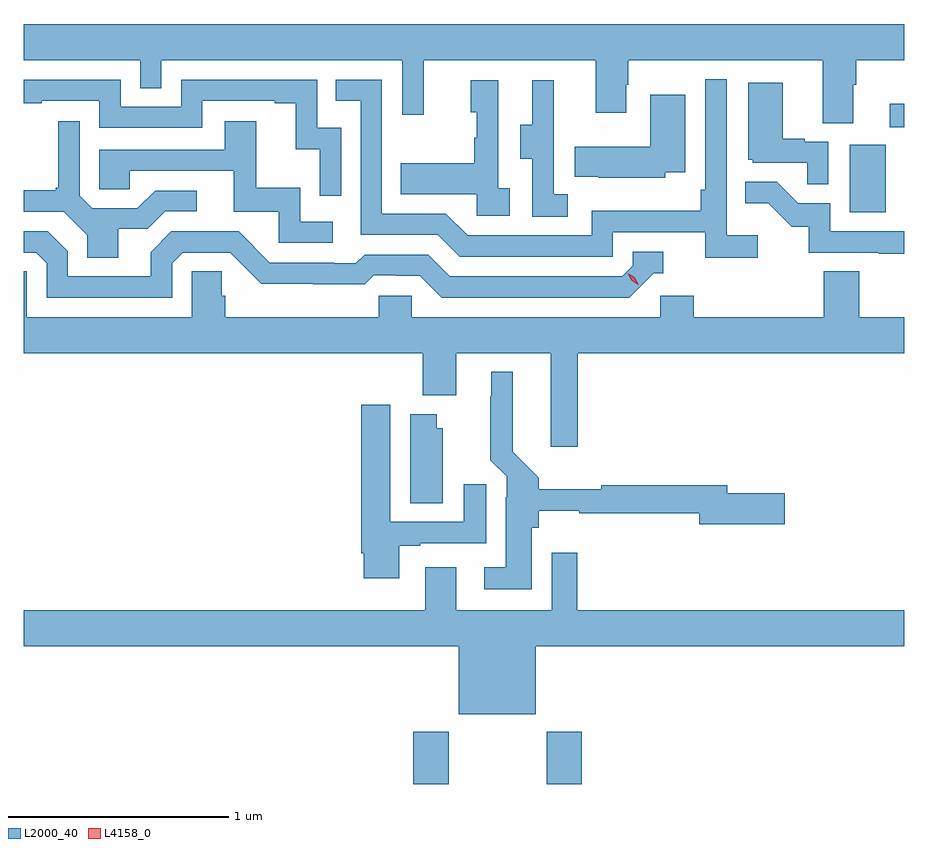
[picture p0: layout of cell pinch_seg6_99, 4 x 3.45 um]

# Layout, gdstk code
import gdstk
lib = gdstk.Library(unit=1e-6, precision=1e-09)
def R(c, l, rs):  # rectangles x0, y0, x1, y1
    for r in rs: c.add(gdstk.rectangle(r[:2], r[2:], *l))
def P(c, l, *ps):  # polygons
    for p in ps: c.add(gdstk.Polygon(p, *l))
L2000_40 = (2000, 40)
L4158_0 = (4158, 0)

pinch_seg6_99 = lib.new_cell('pinch_seg6_99')
R(pinch_seg6_99, L2000_40, [(929.723,917.406,929.883,917.644), (930.328,917.406,930.488,917.644), (931.706,920.004,931.87,920.311), (931.887,920.391,931.953,920.497)])
P(pinch_seg6_99, L2000_40, [(931.723,920.584),(931.736,920.584),(931.736,920.696),(931.953,920.696),(931.953,920.86),(927.953,920.86),(927.953,920.696),(928.482,920.696),(928.482,920.569),(928.578,920.569),(928.578,920.696),(929.673,920.696),(929.673,920.448),(929.771,920.448),(929.771,920.696),(930.551,920.696),(930.551,920.457),(930.691,920.457),(930.691,920.585),(930.699,920.585),(930.699,920.696),(931.583,920.696),(931.583,920.41),(931.723,920.41)],
  [(931.288,919.9),(931.146,919.9),(931.146,920.608),(931.05,920.608),(931.05,920.107),(931.03,920.107),(931.03,920.011),(930.534,920.011),(930.534,919.899),(929.97,919.899),(929.871,919.998),(929.58,919.998),(929.58,920.607),(929.371,920.607),(929.371,920.511),(929.484,920.511),(929.484,919.902),(929.834,919.902),(929.933,919.803),(930.63,919.803),(930.63,919.914),(931.049,919.914),(931.049,919.798),(931.288,919.798)],
  [(929.394,920.388),(929.286,920.388),(929.286,920.607),(928.668,920.607),(928.668,920.484),(928.392,920.484),(928.392,920.607),(927.953,920.607),(927.953,920.499),(928.033,920.499),(928.033,920.511),(928.296,920.511),(928.296,920.388),(928.764,920.388),(928.764,920.511),(929.093,920.511),(929.093,920.499),(929.189,920.499),(929.189,920.291),(929.298,920.291),(929.298,920.079),(929.394,920.079)],
  [(930.16,920.114),(930.108,920.114),(930.108,920.605),(929.984,920.605),(929.984,920.46),(930.01,920.46),(930.01,920.342),(930,920.342),(930,920.227),(929.665,920.227),(929.665,920.087),(930.012,920.087),(930.012,919.989),(930.16,919.989)],
  [(930.424,920.087),(930.36,920.087),(930.36,920.391),(930.362,920.391),(930.362,920.605),(930.263,920.605),(930.263,920.403),(930.209,920.403),(930.209,920.248),(930.264,920.248),(930.264,919.984),(930.424,919.984)],
  [(931.608,920.325),(931.502,920.325),(931.502,920.338),(931.402,920.338),(931.402,920.593),(931.244,920.593),(931.244,920.244),(931.266,920.244),(931.266,920.229),(931.513,920.229),(931.513,920.131),(931.608,920.131)],
  [(930.867,920.186),(930.958,920.186),(930.958,920.539),(930.8,920.539),(930.8,920.302),(930.457,920.302),(930.457,920.165),(930.565,920.165),(930.565,920.162),(930.867,920.162)],
  [(929.356,919.962),(929.208,919.962),(929.208,920.116),(929.009,920.116),(929.009,920.419),(928.865,920.419),(928.865,920.289),(928.296,920.289),(928.296,920.109),(928.433,920.109),(928.433,920.193),(928.907,920.193),(928.907,920.007),(929.112,920.007),(929.112,919.866),(929.356,919.866)],
  [(928.381,919.93),(928.516,919.93),(928.596,920.01),(928.738,920.01),(928.738,920.103),(928.55,920.103),(928.469,920.022),(928.263,920.022),(928.206,920.079),(928.206,920.419),(928.109,920.419),(928.109,920.116),(928.098,920.116),(928.098,920.104),(927.953,920.104),(927.953,920.007),(928.134,920.007),(928.241,919.9),(928.241,919.798),(928.381,919.798)],
  [(931.953,919.917),(931.617,919.917),(931.617,920.046),(931.473,920.046),(931.375,920.144),(931.231,920.144),(931.231,920.045),(931.335,920.045),(931.442,919.938),(931.519,919.938),(931.519,919.821),(931.837,919.821),(931.837,919.816),(931.953,919.816)],
  [(928.626,919.773),(928.674,919.821),(928.89,919.821),(929.032,919.679),(929.268,919.679),(929.268,919.677),(929.501,919.677),(929.543,919.719),(929.646,919.719),(929.646,919.716),(929.753,919.716),(929.852,919.617),(930.705,919.617),(930.816,919.728),(930.859,919.728),(930.859,919.824),(930.72,919.824),(930.72,919.761),(930.672,919.713),(929.889,919.713),(929.79,919.812),(929.501,919.812),(929.462,919.773),(929.363,919.773),(929.363,919.776),(929.07,919.776),(928.929,919.917),(928.623,919.917),(928.529,919.823),(928.529,919.713),(928.152,919.713),(928.152,919.827),(928.062,919.917),(927.953,919.917),(927.953,919.821),(928.008,919.821),(928.056,919.773),(928.056,919.617),(928.626,919.617)],
  [(930.47,919.364),(931.953,919.364),(931.953,919.528),(931.749,919.528),(931.749,919.736),(931.589,919.736),(931.589,919.528),(930.998,919.528),(930.998,919.626),(930.846,919.626),(930.846,919.528),(929.715,919.528),(929.715,919.626),(929.565,919.626),(929.565,919.528),(928.868,919.528),(928.868,919.626),(928.853,919.626),(928.853,919.736),(928.716,919.736),(928.716,919.528),(927.966,919.528),(927.966,919.736),(927.953,919.736),(927.953,919.364),(929.765,919.364),(929.765,919.172),(929.917,919.172),(929.917,919.364),(930.347,919.364),(930.347,918.939),(930.47,918.939)],
  [(930.262,918.57),(930.293,918.57),(930.293,918.647),(930.476,918.647),(930.476,918.636),(931.022,918.636),(931.022,918.586),(931.411,918.586),(931.411,918.728),(931.15,918.728),(931.15,918.764),(930.576,918.764),(930.576,918.746),(930.293,918.746),(930.293,918.798),(930.175,918.916),(930.175,919.279),(930.077,919.279),(930.077,919.169),(930.073,919.169),(930.073,918.878),(930.147,918.804),(930.147,918.71),(930.143,918.71),(930.143,918.391),(930.045,918.391),(930.045,918.29),(930.262,918.29)],
  [(929.659,918.489),(929.755,918.489),(929.755,918.501),(930.055,918.501),(930.055,918.769),(929.951,918.769),(929.951,918.597),(929.617,918.597),(929.617,919.129),(929.486,919.129),(929.486,918.454),(929.498,918.454),(929.498,918.342),(929.659,918.342)],
  [(929.857,919.023),(929.83,919.023),(929.83,919.087),(929.708,919.087),(929.708,918.682),(929.857,918.682)],
  [(930.28,918.032),(931.953,918.032),(931.953,918.196),(930.467,918.196),(930.467,918.457),(930.351,918.457),(930.351,918.196),(929.917,918.196),(929.917,918.391),(929.777,918.391),(929.777,918.196),(927.953,918.196),(927.953,918.032),(929.93,918.032),(929.93,917.723),(930.28,917.723)])
P(pinch_seg6_99, L4158_0, [(930.744,919.676),(930.714,919.695),(930.697,919.728),(930.697,919.728),(930.697,919.728),(930.728,919.709),(930.745,919.676),(930.745,919.676)])

lib.write_gds('pinch_seg6_99.gds')
